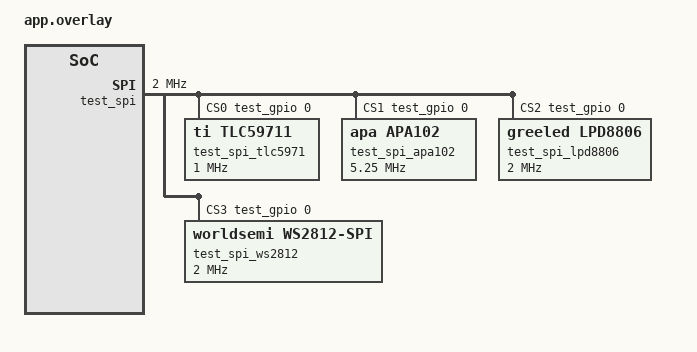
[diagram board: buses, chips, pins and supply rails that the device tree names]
/*
 * Copyright (c) 2020, Linaro Ltd.
 * Copyright (c) 2022, Esco Medical ApS
 *
 * SPDX-License-Identifier: Apache-2.0
 *
 * Application overlay for testing driver builds
 *
 * Names in this file should be chosen in a way that won't conflict
 * with real-world devicetree nodes, to allow these tests to run on
 * (and be extended to test) real hardware.
 */

#include <freq.h>
#include <zephyr/dt-bindings/led/led.h>

/ {
	test {
		#address-cells = <1>;
		#size-cells = <1>;

		test_gpio: gpio@deadbeef {
			compatible = "vnd,gpio";
			gpio-controller;
			reg = <0xdeadbeef 0x1000>;
			#gpio-cells = <0x2>;
			status = "okay";
		};

		test_spi: spi@33334444 {
			#address-cells = <1>;
			#size-cells = <0>;
			compatible = "vnd,spi";
			reg = <0x33334444 0x1000>;
			status = "okay";
			clock-frequency = <DT_FREQ_M(2)>;

			cs-gpios = <&test_gpio 0 0>,
				   <&test_gpio 0 0>,
				   <&test_gpio 0 0>,
				   <&test_gpio 0 0>;

			test_spi_tlc5971: tlc5971@0 {
				status = "okay";
				compatible = "ti,tlc59711", "ti,tlc5971";
				spi-max-frequency = <DT_FREQ_M(1)>;
				reg = <0x0>;
				chain-length = <8>; // two TLC5971 devices
				color-mapping = <LED_COLOR_ID_BLUE>,
						<LED_COLOR_ID_GREEN>,
						<LED_COLOR_ID_RED>;
			};

			test_spi_apa102: apa102@1 {
				compatible = "apa,apa102";
				reg = <0x1>;
				spi-max-frequency = <5250000>;
				chain-length = <4>;
				color-mapping = <LED_COLOR_ID_BLUE
						 LED_COLOR_ID_GREEN
						 LED_COLOR_ID_RED>;
			};

			test_spi_lpd8806: lpd8806@2 {
				compatible = "greeled,lpd8806";
				reg = <0x2>;
				spi-max-frequency = <2000000>;
				chain-length = <1>;
				color-mapping = <LED_COLOR_ID_RED
						 LED_COLOR_ID_GREEN
						 LED_COLOR_ID_BLUE>;
			};

			test_spi_ws2812: ws2812@3 {
				compatible = "worldsemi,ws2812-spi";
				reg = <0x3>;
				spi-max-frequency = <2000000>;

				chain-length = <1>;
				color-mapping = <LED_COLOR_ID_GREEN>,
					<LED_COLOR_ID_RED>,
					<LED_COLOR_ID_BLUE>;
				spi-one-frame = <1>;
				spi-zero-frame = <2>;
			};
		};
	};
};
